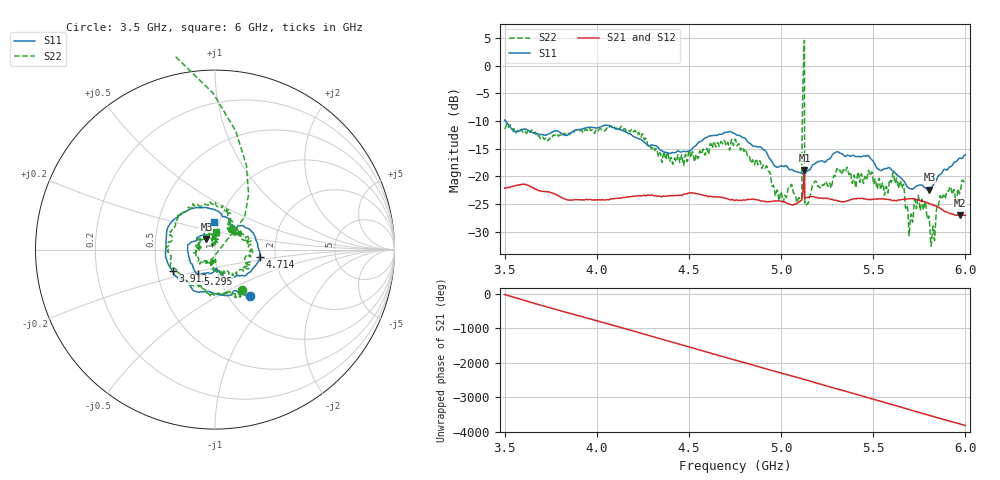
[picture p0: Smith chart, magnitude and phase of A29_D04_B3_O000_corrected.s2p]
! Created with skrf 1.9.0 (http://scikit-rf.org).
# Hz S RI R 50.0
!freq ReS11 ImS11 ReS21 ImS21 ReS12 ImS12 ReS22 ImS22
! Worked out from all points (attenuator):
!   1601 points, 3.5 GHz to 6 GHz, reference 50 ohm
!   highest |S21| = -18.86 dB at 5.127 GHz (marker M1); lowest = -27.0 dB at 5.97 GHz (marker M2)
!   lowest |S11| = -22.4 dB at 5.805 GHz (marker M3), VSWR 1.16, Z = 45.1 + j5.38 ohm
!   |S11| at or under -10 dB: 3.505 GHz to end of sweep
!   |S22| runs from -32.6 to 4.5 dB; largest |S21 - S12| = 0.001
!   S11 on the Smith chart (normalised r, x): 3.5 GHz: 1.25, -0.72; 3.913 GHz: 0.60, -0.16; 4.714 GHz: 1.65, -0.15; 5.295 GHz: 0.80, -0.22; 6 GHz: 0.94, +0.30
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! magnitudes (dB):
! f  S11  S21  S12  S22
! 3.5 GHz  -9.8  -22.1  -22.1  -11.3
! 3.913 GHz  -11.5  -24.2  -24.2  -11.7
! 3.917 GHz  -11.5  -24.2  -24.2  -11.7
! 4.198 GHz  -12.8  -23.6  -23.5  -11.9
! 4.334 GHz  -14.9  -23.6  -23.5  -16.4
! 4.714 GHz  -12.0  -24.1  -24.1  -14.2
! 4.75 GHz  -12.3  -24.4  -24.2  -13.4
! 5.095 GHz  -19.3  -24.6  -24.6  -23.9
! 5.103 GHz  -19.3  -24.5  -24.4  -24.1
! 5.114 GHz  -19.5  -23.9  -23.9  -12.2
! 5.127 GHz  -19.5  -18.9  -18.8  4.5
! 5.141 GHz  -19.1  -23.8  -23.7  -25.0
! 5.167 GHz  -18.1  -23.6  -23.6  -22.0
! 5.295 GHz  -15.7  -24.3  -24.2  -19.6
! 5.584 GHz  -18.4  -24.2  -24.1  -21.6
! 5.656 GHz  -20.5  -24.2  -24.1  -22.1
! 5.703 GHz  -22.2  -24.0  -24.0  -27.0
! 5.773 GHz  -21.8  -24.5  -24.4  -26.0
! 5.805 GHz  -22.4  -24.9  -24.8  -27.9
! 5.87 GHz  -19.5  -25.9  -25.8  -24.1
! 5.97 GHz  -16.7  -27.0  -27.0  -23.0
! 6 GHz  -16.1  -27.0  -26.9  -20.3
